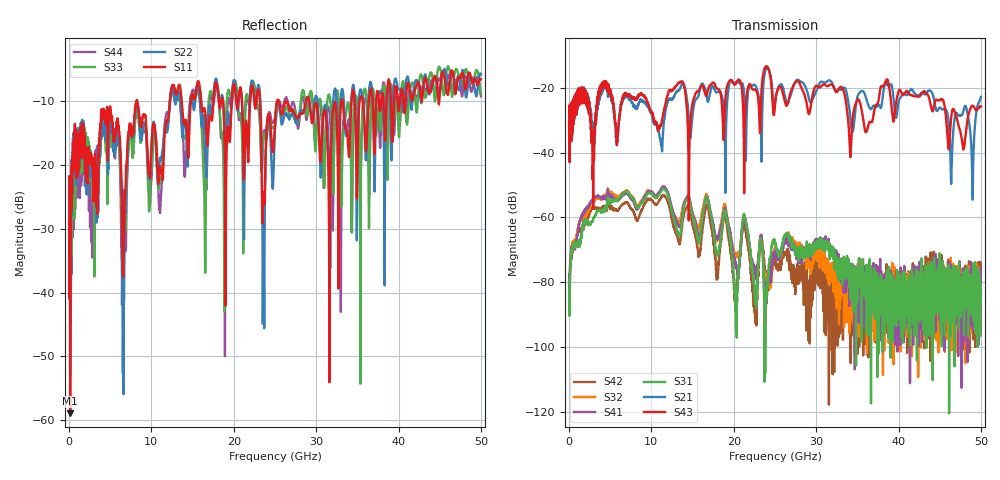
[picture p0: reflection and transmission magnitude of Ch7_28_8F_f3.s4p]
!Agilent Technologies,N5247A,US51170199,A.09.90.13
!Agilent N5247A: A.09.90.13
!Date: Wednesday, December 09, 2015 09:22:14
!Correction: S11(Full 4 Port(1,2,3,4))
!S12(Full 4 Port(1,2,3,4))
!S13(Full 4 Port(1,2,3,4))
!S14(Full 4 Port(1,2,3,4))
!S21(Full 4 Port(1,2,3,4))
!S22(Full 4 Port(1,2,3,4))
!S23(Full 4 Port(1,2,3,4))
!S24(Full 4 Port(1,2,3,4))
!S31(Full 4 Port(1,2,3,4))
!S32(Full 4 Port(1,2,3,4))
!S33(Full 4 Port(1,2,3,4))
!S34(Full 4 Port(1,2,3,4))
!S41(Full 4 Port(1,2,3,4))
!S42(Full 4 Port(1,2,3,4))
!S43(Full 4 Port(1,2,3,4))
!S44(Full 4 Port(1,2,3,4))
!S4P File: Measurements: <S11,S12,S13,S14>,
!<S21,S22,S23,S24>,
!<S31,S32,S33,S34>,
!<S41,S42,S43,S44>:
# Hz S  dB  R 50
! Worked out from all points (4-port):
!   3201 points, 10 MHz to 50 GHz, reference 50 ohm
!   strongest paths, dB at 10 MHz, 12.51 GHz, 25 GHz, 37.5 GHz, 50 GHz:
!     S43: -32.5, -20.9, -25.3, -24.7, -25.8
!     S21: -32.5, -23.5, -24.6, -25.4, -22.9
!     S31: -82.5, -58.3, -68.0, -90.5, -85.7
!     S41: -77.7, -57.0, -70.6, -83.6, -77.2
!     S32: -84.3, -57.4, -69.4, -90.2, -88.1
!     S42: -79.1, -60.7, -73.5, -87.3, -76.5
!   lowest |S11| = -58.9 dB at 135 MHz (marker M1), VSWR 1.00, Z = 50 + j0.104 ohm
!   |S11| at or under -10 dB: start of sweep to 8.239 GHz; 8.268 GHz to 12.26 GHz (3.992 GHz wide, 38.9 % of centre); 29.15 GHz to 33.06 GHz (3.909 GHz wide, 12.6 % of centre)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
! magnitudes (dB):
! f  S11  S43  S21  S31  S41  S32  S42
! 10 MHz  -21.9  -32.5  -32.5  -82.5  -77.7  -84.3  -79.1
! 135 MHz  -58.9  -33.0  -32.8  -76.2  -74.4  -74.0  -76.5
! 11.48 GHz  -19.1  -27.4  -31.5  -51.2  -50.4  -51.0  -53.2
! 20.29 GHz  -9.8  -18.7  -18.3  -87.0  -74.4  -71.5  -82.4
! 21.27 GHz  -20.9  -45.3  -22.6  -59.3  -60.3  -59.6  -62.0
! 23.63 GHz  -24.5  -15.1  -18.0  -78.5  -77.7  -73.6  -71.8
! 50 GHz  -6.6  -25.8  -22.9  -85.7  -77.2  -88.1  -76.5
